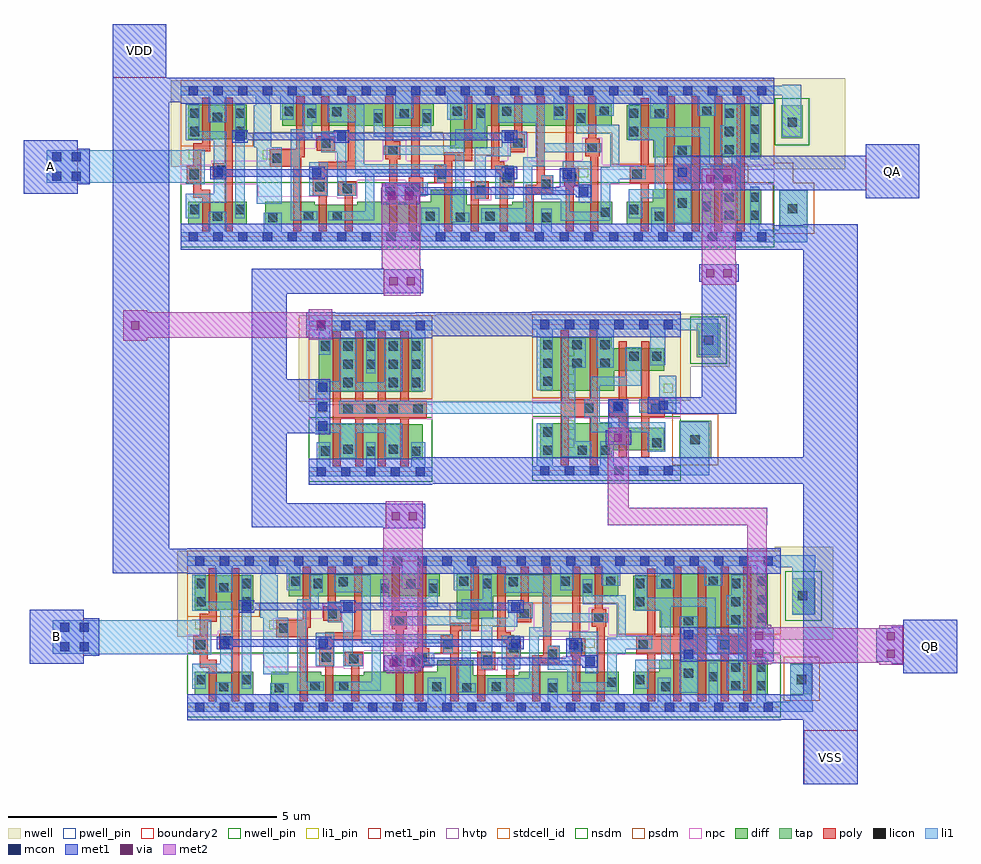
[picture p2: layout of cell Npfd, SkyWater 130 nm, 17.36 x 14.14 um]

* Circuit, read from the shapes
.subckt Npfd A B QA QB VDD VSS
XM1 VSS A n1 VSS sky130_fd_pr__nfet_01v8 w=0.42 l=0.15
XM2 VSS B n2 VSS sky130_fd_pr__nfet_01v8 w=0.42 l=0.15
XM3 n3 n1 VSS VSS sky130_fd_pr__nfet_01v8 w=0.42 l=0.15
XM4 n4 n2 VSS VSS sky130_fd_pr__nfet_01v8 w=0.42 l=0.15
XM5 n5 VDD VSS VSS sky130_fd_pr__nfet_01v8 w=0.42 l=0.15
XM6 n6 VDD VSS VSS sky130_fd_pr__nfet_01v8 w=0.42 l=0.15
XM7 n7 n1 n5 VSS sky130_fd_pr__nfet_01v8 w=0.36 l=0.15
XM8 n8 n2 n6 VSS sky130_fd_pr__nfet_01v8 w=0.36 l=0.15
XM9 sky130_fd_sc_hd__dfrbp_2_0/RESET_B sky130_fd_sc_hd__inv_4_3/A VSS VSS sky130_fd_pr__nfet_01v8 w=0.65 l=0.15 m=4
XM10 n9 n3 n7 VSS sky130_fd_pr__nfet_01v8 w=0.36 l=0.15
XM11 n10 n4 n8 VSS sky130_fd_pr__nfet_01v8 w=0.36 l=0.15
XM12 n11 n12 n9 VSS sky130_fd_pr__nfet_01v8 w=0.42 l=0.15
XM13 n13 n14 n10 VSS sky130_fd_pr__nfet_01v8 w=0.42 l=0.15
XM14 VSS sky130_fd_sc_hd__dfrbp_2_0/RESET_B n11 VSS sky130_fd_pr__nfet_01v8 w=0.42 l=0.15
XM15 VSS sky130_fd_sc_hd__dfrbp_2_0/RESET_B n13 VSS sky130_fd_pr__nfet_01v8 w=0.42 l=0.15
XM16 n12 n7 VSS VSS sky130_fd_pr__nfet_01v8 w=0.64 l=0.15
XM17 n14 n8 VSS VSS sky130_fd_pr__nfet_01v8 w=0.64 l=0.15
XM18 n15 n3 n12 VSS sky130_fd_pr__nfet_01v8 w=0.36 l=0.15
XM19 n16 n4 n14 VSS sky130_fd_pr__nfet_01v8 w=0.36 l=0.15
XM20 n17 n1 n15 VSS sky130_fd_pr__nfet_01v8 w=0.36 l=0.15
XM21 n18 n2 n16 VSS sky130_fd_pr__nfet_01v8 w=0.36 l=0.15
XM22 VSS n19 n17 VSS sky130_fd_pr__nfet_01v8 w=0.42 l=0.15
XM23 VSS n20 n18 VSS sky130_fd_pr__nfet_01v8 w=0.42 l=0.15
XM24 sky130_fd_sc_hd__inv_4_3/A n21 VSS VSS sky130_fd_pr__nfet_01v8 w=0.65 l=0.15 m=2
XM25 n22 sky130_fd_sc_hd__dfrbp_2_0/RESET_B VSS VSS sky130_fd_pr__nfet_01v8 w=0.42 l=0.15
XM26 n23 sky130_fd_sc_hd__dfrbp_2_0/RESET_B VSS VSS sky130_fd_pr__nfet_01v8 w=0.42 l=0.15
XM27 n19 n15 n22 VSS sky130_fd_pr__nfet_01v8 w=0.42 l=0.15
XM28 n20 n16 n23 VSS sky130_fd_pr__nfet_01v8 w=0.42 l=0.15
XM29 n24 QB VSS VSS sky130_fd_pr__nfet_01v8 w=0.42 l=0.15
XM30 VSS n19 n25 VSS sky130_fd_pr__nfet_01v8 w=0.42 l=0.15
XM31 n21 QA n24 VSS sky130_fd_pr__nfet_01v8 w=0.42 l=0.15
XM32 VSS n20 n26 VSS sky130_fd_pr__nfet_01v8 w=0.42 l=0.15
XM33 QA n19 VSS VSS sky130_fd_pr__nfet_01v8 w=0.65 l=0.15 m=2
XM34 QB n20 VSS VSS sky130_fd_pr__nfet_01v8 w=0.65 l=0.15 m=2
XM35 sky130_fd_sc_hd__dfrbp_2_0/Q_N n25 VSS VSS sky130_fd_pr__nfet_01v8 w=0.65 l=0.15 m=2
XM36 sky130_fd_sc_hd__dfrbp_2_1/Q_N n26 VSS VSS sky130_fd_pr__nfet_01v8 w=0.65 l=0.15 m=2
XM37 VDD A n1 VDD sky130_fd_pr__pfet_01v8_hvt w=0.64 l=0.15
XM38 VDD B n2 VDD sky130_fd_pr__pfet_01v8_hvt w=0.64 l=0.15
XM39 n3 n1 VDD VDD sky130_fd_pr__pfet_01v8_hvt w=0.64 l=0.15
XM40 n4 n2 VDD VDD sky130_fd_pr__pfet_01v8_hvt w=0.64 l=0.15
XM41 n5 VDD VDD VDD sky130_fd_pr__pfet_01v8_hvt w=0.42 l=0.15
XM42 n6 VDD VDD VDD sky130_fd_pr__pfet_01v8_hvt w=0.42 l=0.15
XM43 n7 n3 n5 VDD sky130_fd_pr__pfet_01v8_hvt w=0.42 l=0.15
XM44 n8 n4 n6 VDD sky130_fd_pr__pfet_01v8_hvt w=0.42 l=0.15
XM45 sky130_fd_sc_hd__dfrbp_2_0/RESET_B sky130_fd_sc_hd__inv_4_3/A VDD VDD sky130_fd_pr__pfet_01v8_hvt w=1 l=0.15 m=4
XM46 n27 n1 n7 VDD sky130_fd_pr__pfet_01v8_hvt w=0.42 l=0.15
XM47 n28 n2 n8 VDD sky130_fd_pr__pfet_01v8_hvt w=0.42 l=0.15
XM48 VDD n12 n27 VDD sky130_fd_pr__pfet_01v8_hvt w=0.42 l=0.15
XM49 VDD n14 n28 VDD sky130_fd_pr__pfet_01v8_hvt w=0.42 l=0.15
XM50 n27 sky130_fd_sc_hd__dfrbp_2_0/RESET_B VDD VDD sky130_fd_pr__pfet_01v8_hvt w=0.42 l=0.15
XM51 n28 sky130_fd_sc_hd__dfrbp_2_0/RESET_B VDD VDD sky130_fd_pr__pfet_01v8_hvt w=0.42 l=0.15
XM52 n12 n7 VDD VDD sky130_fd_pr__pfet_01v8_hvt w=0.84 l=0.15
XM53 n14 n8 VDD VDD sky130_fd_pr__pfet_01v8_hvt w=0.84 l=0.15
XM54 n15 n1 n12 VDD sky130_fd_pr__pfet_01v8_hvt w=0.42 l=0.15
XM55 n16 n2 n14 VDD sky130_fd_pr__pfet_01v8_hvt w=0.42 l=0.15
XM56 n29 n3 n15 VDD sky130_fd_pr__pfet_01v8_hvt w=0.42 l=0.15
XM57 n30 n4 n16 VDD sky130_fd_pr__pfet_01v8_hvt w=0.42 l=0.15
XM58 VDD n19 n29 VDD sky130_fd_pr__pfet_01v8_hvt w=0.42 l=0.15
XM59 VDD n20 n30 VDD sky130_fd_pr__pfet_01v8_hvt w=0.42 l=0.15
XM60 sky130_fd_sc_hd__inv_4_3/A n21 VDD VDD sky130_fd_pr__pfet_01v8_hvt w=1 l=0.15 m=2
XM61 n19 sky130_fd_sc_hd__dfrbp_2_0/RESET_B VDD VDD sky130_fd_pr__pfet_01v8_hvt w=0.42 l=0.15
XM62 n20 sky130_fd_sc_hd__dfrbp_2_0/RESET_B VDD VDD sky130_fd_pr__pfet_01v8_hvt w=0.42 l=0.15
XM63 VDD n15 n19 VDD sky130_fd_pr__pfet_01v8_hvt w=0.42 l=0.15
XM64 VDD n16 n20 VDD sky130_fd_pr__pfet_01v8_hvt w=0.42 l=0.15
XM65 n21 QB VDD VDD sky130_fd_pr__pfet_01v8_hvt w=0.42 l=0.15
XM66 VDD n19 n25 VDD sky130_fd_pr__pfet_01v8_hvt w=0.64 l=0.15
XM67 VDD QA n21 VDD sky130_fd_pr__pfet_01v8_hvt w=0.42 l=0.15
XM68 VDD n20 n26 VDD sky130_fd_pr__pfet_01v8_hvt w=0.64 l=0.15
XM69 QA n19 VDD VDD sky130_fd_pr__pfet_01v8_hvt w=1 l=0.15 m=2
XM70 QB n20 VDD VDD sky130_fd_pr__pfet_01v8_hvt w=1 l=0.15 m=2
XM71 sky130_fd_sc_hd__dfrbp_2_0/Q_N n25 VDD VDD sky130_fd_pr__pfet_01v8_hvt w=1 l=0.15 m=2
XM72 sky130_fd_sc_hd__dfrbp_2_1/Q_N n26 VDD VDD sky130_fd_pr__pfet_01v8_hvt w=1 l=0.15 m=2
.ends

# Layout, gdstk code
from math import pi, radians
import gdstk
lib = gdstk.Library(unit=1e-6, precision=1e-09)
def R(c, l, rs):  # rectangles x0, y0, x1, y1
    for r in rs: c.add(gdstk.rectangle(r[:2], r[2:], *l))
def A(c, l, x, y, w, h, nx, ny, dx, dy):  # array of equal rectangles
    R(c, l, [(x+i*dx, y+j*dy, x+i*dx+w, y+j*dy+h) for i in range(nx) for j in range(ny)])
def P(c, l, *ps):  # polygons
    for p in ps: c.add(gdstk.Polygon(p, *l))
nwell_pin = (64, 16)
nwell = (64, 20)
diff = (65, 20)
tap = (65, 44)
poly = (66, 20)
licon = (66, 44)
li1_pin = (67, 16)
li1 = (67, 20)
mcon = (67, 44)
met1_pin = (68, 16)
met1 = (68, 20)
via = (68, 44)
met2 = (69, 20)
hvtp = (78, 44)
stdcell_id = (81, 4)
nsdm = (93, 44)
psdm = (94, 20)
npc = (95, 20)
pwell_pin = (122, 16)
boundary2 = (236, 0)

sky130_fd_sc_hd__dfrbp_2 = lib.new_cell('sky130_fd_sc_hd__dfrbp_2')
R(sky130_fd_sc_hd__dfrbp_2, nwell_pin, [(0.145,2.635,0.315,2.805)])
R(sky130_fd_sc_hd__dfrbp_2, nwell, [(-0.19,1.305,11.23,2.91)])
R(sky130_fd_sc_hd__dfrbp_2, diff, [(0.135,0.235,1.225,0.655), (0.135,1.815,1.225,2.455), (3.305,2.065,4.7,2.485)])
P(sky130_fd_sc_hd__dfrbp_2, diff, [(8.015,2.485),(5.015,2.485),(5.015,1.645),(5.695,1.645),(5.695,2.065),(8.015,2.065)],
  [(10.8,0.885),(8.78,0.885),(8.78,0.655),(8.295,0.655),(8.295,0.235),(10.8,0.235)],
  [(8.025,0.655),(6.165,0.655),(6.165,0.595),(5.315,0.595),(5.315,0.875),(4.645,0.875),(4.645,0.655),(3.285,0.655),(3.285,0.595),(2.49,0.595),(2.49,0.655),(1.565,0.655),(1.565,0.235),(8.025,0.235)],
  [(3.335,2.485),(1.89,2.485),(1.89,2.065),(3.33,2.065),(3.33,2.48),(3.335,2.48)],
  [(10.8,2.485),(8.79,2.485),(8.79,2.445),(8.295,2.445),(8.295,1.805),(8.79,1.805),(8.79,1.485),(10.8,1.485)])
R(sky130_fd_sc_hd__dfrbp_2, poly, [(3.875,0.105,4.025,1.515), (4.29,1.055,4.44,2.615), (3.805,1.445,4.08,1.775), (3.805,1.76,3.955,2.615)])
P(sky130_fd_sc_hd__dfrbp_2, poly, [(7.79,1.825),(7.73,1.825),(7.73,2.615),(7.58,2.615),(7.58,1.825),(7.52,1.825),(7.52,1.495),(7.615,1.495),(7.615,0.105),(7.765,0.105),(7.765,1.495),(7.79,1.495)],
  [(10.49,2.615),(10.34,2.615),(10.34,1.325),(10.07,1.325),(10.07,2.615),(9.92,2.615),(9.92,1.325),(9.86,1.325),(9.86,0.995),(9.92,0.995),(9.92,0.105),(10.07,0.105),(10.07,0.995),(10.34,0.995),(10.34,0.105),(10.49,0.105)],
  [(0.545,0.88),(0.38,0.88),(0.38,1.59),(0.545,1.59),(0.545,2.585),(0.395,2.585),(0.395,1.74),(0.23,1.74),(0.23,1.325),(0.11,1.325),(0.11,0.995),(0.23,0.995),(0.23,0.73),(0.395,0.73),(0.395,0.105),(0.545,0.105)],
  [(0.965,2.585),(0.815,2.585),(0.815,1.37),(0.59,1.37),(0.59,1.1),(0.815,1.1),(0.815,0.105),(0.965,0.105)],
  [(2.3,2.615),(2.15,2.615),(2.15,1.63),(1.655,1.63),(1.655,1.3),(2.09,1.3),(2.09,0.105),(2.24,0.105),(2.24,1.48),(2.3,1.48)],
  [(3.255,2.615),(3.105,2.615),(3.105,1.395),(2.565,1.395),(2.565,1.095),(2.45,1.095),(2.45,0.765),(2.565,0.765),(2.565,0.105),(2.715,0.105),(2.715,0.765),(2.72,0.765),(2.72,1.245),(3.255,1.245)],
  [(2.86,1.875),(2.76,1.875),(2.76,2.615),(2.61,2.615),(2.61,1.875),(2.53,1.875),(2.53,1.605),(2.86,1.605)],
  [(3.26,1.035),(2.93,1.035),(2.93,0.765),(3.045,0.765),(3.045,0.105),(3.195,0.105),(3.195,0.765),(3.26,0.765)],
  [(4.505,1.095),(4.235,1.095),(4.235,0.105),(4.385,0.105),(4.385,0.765),(4.505,0.765)],
  [(5.425,2.615),(5.275,2.615),(5.275,1.57),(4.895,1.57),(4.895,1.335),(4.715,1.335),(4.715,1.005),(4.895,1.005),(4.895,0.105),(5.045,0.105),(5.045,1.42),(5.425,1.42)],
  [(5.725,1.035),(5.39,1.035),(5.39,0.105),(5.54,0.105),(5.54,0.705),(5.725,0.705)],
  [(6.205,1.275),(6.085,1.275),(6.085,1.335),(6.02,1.335),(6.02,1.395),(5.92,1.395),(5.92,2.615),(5.77,2.615),(5.77,1.245),(5.875,1.245),(5.875,1.185),(5.935,1.185),(5.935,0.105),(6.085,0.105),(6.085,0.945),(6.205,0.945)],
  [(6.4,1.905),(6.35,1.905),(6.35,2.615),(6.2,2.615),(6.2,1.905),(6.13,1.905),(6.13,1.575),(6.4,1.575)],
  [(6.925,1.145),(6.77,1.145),(6.77,2.615),(6.62,2.615),(6.62,0.965),(6.415,0.965),(6.415,0.105),(6.565,0.105),(6.565,0.815),(6.925,0.815)],
  [(7.405,1.285),(7.31,1.285),(7.31,2.615),(7.16,2.615),(7.16,1.285),(7.135,1.285),(7.135,0.955),(7.16,0.955),(7.16,0.105),(7.31,0.105),(7.31,0.955),(7.405,0.955)],
  [(9.65,2.615),(9.5,2.615),(9.5,1.325),(9.19,1.325),(9.19,2.615),(9.04,2.615),(9.04,1.325),(8.705,1.325),(8.705,2.575),(8.555,2.575),(8.555,1.325),(8.35,1.325),(8.35,0.995),(8.555,0.995),(8.555,0.105),(8.705,0.105),(8.705,0.995),(9.04,0.995),(9.04,0.105),(9.19,0.105),(9.19,0.995),(9.5,0.995),(9.5,0.105),(9.65,0.105)])
A(sky130_fd_sc_hd__dfrbp_2, licon, 10.12, 1.535, 0.17, 0.17, 1, 3, 0, 0.34)
A(sky130_fd_sc_hd__dfrbp_2, licon, 10.59, 1.575, 0.17, 0.17, 1, 3, 0, 0.34)
R(sky130_fd_sc_hd__dfrbp_2, licon, [(1.625,0.275,1.795,0.445), (5.115,0.275,5.285,0.445), (6.725,0.275,6.895,0.445), (0.595,0.295,0.765,0.465), (4.555,0.295,4.725,0.465), (5.665,0.295,5.835,0.465), (8.82,0.295,8.99,0.465), (2.29,0.305,2.46,0.475), (2.825,0.305,2.995,0.475), (10.12,0.315,10.29,0.485), (10.59,0.315,10.76,0.485), (7.815,0.375,7.985,0.545), (0.175,0.425,0.345,0.595), (1.015,0.425,1.185,0.595), (8.335,0.425,8.505,0.595), (9.7,0.48,9.87,0.65), (9.24,0.545,9.41,0.715), (10.12,0.655,10.29,0.825), (10.59,0.655,10.76,0.825), (5.505,0.785,5.675,0.955), (3.01,0.815,3.18,0.985), (2.5,0.845,2.67,1.015), (4.285,0.845,4.455,1.015), (6.705,0.895,6.875,1.065), (5.985,1.025,6.155,1.195), (7.185,1.035,7.355,1.205), (0.16,1.075,0.33,1.245), (8.4,1.075,8.57,1.245), (9.91,1.075,10.08,1.245), (4.765,1.085,4.935,1.255), (0.67,1.15,0.84,1.32), (1.705,1.38,1.875,1.55), (3.855,1.525,4.025,1.695), (9.24,1.525,9.41,1.695), (7.57,1.575,7.74,1.745), (2.61,1.655,2.78,1.825), (6.18,1.655,6.35,1.825), (0.175,1.875,0.345,2.045), (1.015,1.875,1.185,2.045), (8.335,1.875,8.505,2.045), (3.585,2.125,3.755,2.295), (4.49,2.125,4.66,2.295), (7.36,2.125,7.53,2.295), (0.595,2.135,0.765,2.305), (4.07,2.205,4.24,2.375), (8.82,2.205,8.99,2.375), (0.175,2.215,0.345,2.385), (1.015,2.215,1.185,2.385), (2.35,2.215,2.52,2.385), (5.495,2.215,5.665,2.385), (8.335,2.215,8.505,2.385), (2.815,2.245,2.985,2.415), (5.98,2.25,6.15,2.42), (1.93,2.255,2.1,2.425), (5.055,2.255,5.225,2.425), (6.94,2.255,7.11,2.425), (7.79,2.255,7.96,2.425), (9.7,2.255,9.87,2.425)])
R(sky130_fd_sc_hd__dfrbp_2, li1_pin, [(7.405,0.765,7.575,0.935), (9.255,1.065,9.415,1.245), (0.15,1.105,0.32,1.275), (7.405,1.105,7.575,1.275), (10.275,1.11,10.39,1.285), (0.15,1.445,0.32,1.615), (1.525,1.445,1.695,1.615)])
R(sky130_fd_sc_hd__dfrbp_2, li1, [(0,-0.085,9.2,0.085), (1.545,-0.03,1.875,0.445), (8.755,0.02,8.99,0.545), (10.59,0.025,10.76,0.93), (9.7,0.035,9.87,0.825), (4.475,0.055,4.805,0.545), (0.515,0.06,0.845,0.465), (6.705,0.065,6.895,0.525), (9.16,0.265,9.495,1.695), (1.015,0.345,1.185,2.465), (1.415,0.615,1.875,1.665), (5.845,0.705,6.195,1.325), (2.385,0.765,2.735,1.385), (3.805,0.765,4.595,1.015), (0.09,0.975,0.44,1.625), (8.145,1.075,8.65,1.325), (10.59,1.445,10.76,2.715), (3.775,1.525,5.13,1.695), (1.355,1.665,1.68,2.45), (0.515,2.135,0.845,2.665), (4.955,2.175,5.325,2.675), (6.94,2.175,7.19,2.69), (3.99,2.205,4.32,2.69), (8.73,2.205,9.07,2.675), (7.71,2.255,8.055,2.7), (9.62,2.255,9.95,2.675)])
P(sky130_fd_sc_hd__dfrbp_2, li1, [(0.84,1.965),(0.345,1.965),(0.345,2.465),(0.09,2.465),(0.09,1.795),(0.61,1.795),(0.61,0.805),(0.09,0.805),(0.09,0.345),(0.345,0.345),(0.345,0.635),(0.84,0.635)],
  [(2.54,0.475),(2.215,0.475),(2.215,1.835),(2.44,1.835),(2.44,2.135),(2.52,2.135),(2.52,2.465),(2.27,2.465),(2.27,2.005),(2.045,2.005),(2.045,0.305),(2.54,0.305)],
  [(3.26,0.985),(3.075,0.985),(3.075,1.965),(2.61,1.965),(2.61,1.575),(2.905,1.575),(2.905,0.765),(3.26,0.765)],
  [(4.935,1.355),(3.415,1.355),(3.415,2.465),(2.735,2.465),(2.735,2.135),(3.245,2.135),(3.245,1.185),(3.43,1.185),(3.43,0.475),(2.745,0.475),(2.745,0.305),(3.6,0.305),(3.6,1.185),(4.765,1.185),(4.765,1.005),(4.935,1.005)],
  [(5.665,2.465),(5.495,2.465),(5.495,2.005),(5.105,2.005),(5.105,0.835),(5.015,0.835),(5.015,0.275),(5.365,0.275),(5.365,0.445),(5.275,0.445),(5.275,1.835),(5.665,1.835)],
  [(6.43,1.955),(5.97,1.955),(5.97,1.665),(5.465,1.665),(5.465,0.705),(5.675,0.705),(5.675,1.495),(6.14,1.495),(6.14,1.655),(6.43,1.655)],
  [(7.645,1.405),(7.105,1.405),(7.105,1.035),(7.405,1.035),(7.405,0.635),(7.645,0.635)],
  [(7.82,1.745),(6.77,1.745),(6.77,2.465),(5.9,2.465),(5.9,2.125),(6.6,2.125),(6.6,1.485),(6.365,1.485),(6.365,0.535),(5.585,0.535),(5.585,0.255),(6.535,0.255),(6.535,1.315),(6.77,1.315),(6.77,1.575),(7.82,1.575)],
  [(9.2,2.805),(0,2.805),(0,2.635),(1.85,2.635),(1.85,2.175),(2.1,2.175),(2.1,2.635),(9.2,2.635)],
  [(8.16,2.085),(7.53,2.085),(7.53,2.375),(7.36,2.375),(7.36,1.915),(7.99,1.915),(7.99,1.295),(7.815,1.295),(7.815,0.465),(7.235,0.465),(7.235,0.865),(6.925,0.865),(6.925,1.145),(6.705,1.145),(6.705,0.695),(7.065,0.695),(7.065,0.295),(7.985,0.295),(7.985,0.995),(8.16,0.995)],
  [(10.42,2.465),(10.12,2.465),(10.12,2.08),(10.03,2.08),(10.03,1.535),(10.25,1.535),(10.25,0.825),(10.04,0.825),(10.04,0.31),(10.42,0.31)],
  [(10.08,1.325),(9.835,1.325),(9.835,2.035),(8.56,2.035),(8.56,2.465),(8.335,2.465),(8.335,1.795),(8.82,1.795),(8.82,0.885),(8.335,0.885),(8.335,0.345),(8.585,0.345),(8.585,0.715),(8.99,0.715),(8.99,1.865),(9.665,1.865),(9.665,0.995),(10.08,0.995)],
  [(4.66,2.375),(4.49,2.375),(4.49,2.035),(3.755,2.035),(3.755,2.375),(3.585,2.375),(3.585,1.865),(4.66,1.865)])
A(sky130_fd_sc_hd__dfrbp_2, mcon, 0.145, -0.085, 0.17, 0.17, 24, 2, 0.46, 2.72)
R(sky130_fd_sc_hd__dfrbp_2, mcon, [(3.805,0.765,3.975,0.935), (4.165,0.765,4.335,0.935), (7.405,0.765,7.575,0.935), (7.105,1.08,7.275,1.25), (0.61,1.105,0.78,1.275), (2.445,1.105,2.615,1.275), (6.025,1.105,6.195,1.275), (1.015,1.785,1.185,1.955), (2.905,1.785,3.075,1.955), (6.025,1.785,6.195,1.955)])
R(sky130_fd_sc_hd__dfrbp_2, met1_pin, [(0.145,-0.085,0.315,0.085), (0.145,2.635,0.315,2.805)])
R(sky130_fd_sc_hd__dfrbp_2, met1, [(7.045,0.91,7.335,1.28), (0.55,1.075,0.84,1.305), (5.965,1.075,6.255,1.305), (0.955,1.755,1.245,1.985), (5.965,1.755,6.255,1.985)])
P(sky130_fd_sc_hd__dfrbp_2, met1, [(7.635,0.965),(7.335,0.965),(7.335,0.92),(4.395,0.92),(4.395,0.965),(3.745,0.965),(3.745,0.735),(4.395,0.735),(4.395,0.78),(7.345,0.78),(7.345,0.735),(7.635,0.735)],
  [(6.075,1.94),(3.135,1.94),(3.135,1.985),(2.845,1.985),(2.845,1.94),(1.185,1.94),(1.185,1.8),(2.845,1.8),(2.845,1.755),(3.135,1.755),(3.135,1.8),(6.075,1.8)],
  [(6.045,1.26),(2.675,1.26),(2.675,1.305),(2.385,1.305),(2.385,1.26),(0.82,1.26),(0.82,1.12),(2.385,1.12),(2.385,1.075),(2.675,1.075),(2.675,1.12),(6.045,1.12)])
A(sky130_fd_sc_hd__dfrbp_2, hvtp, 9.2, 1.25, 0.46, 1.47, 4, 1, 0.46, 0)
R(sky130_fd_sc_hd__dfrbp_2, hvtp, [(0,1.25,9.2,2.72)])
R(sky130_fd_sc_hd__dfrbp_2, stdcell_id, [(0,0,11.04,2.72)])
R(sky130_fd_sc_hd__dfrbp_2, nsdm, [(0,-0.19,11.04,1.015)])
P(sky130_fd_sc_hd__dfrbp_2, psdm, [(11.04,2.91),(0,2.91),(0,1.685),(1.35,1.685),(1.35,1.935),(4.885,1.935),(4.885,1.515),(5.825,1.515),(5.825,1.935),(8.02,1.935),(8.02,1.355),(11.04,1.355)])
R(sky130_fd_sc_hd__dfrbp_2, npc, [(3.755,1.365,4.195,1.795)])
P(sky130_fd_sc_hd__dfrbp_2, npc, [(11.04,1.345),(7.84,1.345),(7.84,1.845),(7.47,1.845),(7.47,1.42),(6.45,1.42),(6.45,1.925),(6.08,1.925),(6.08,1.42),(2.88,1.42),(2.88,1.925),(2.51,1.925),(2.51,1.65),(1.6,1.65),(1.6,1.42),(0.565,1.42),(0.565,1.345),(0,1.345),(0,0.975),(1.425,0.975),(1.425,0.745),(2.91,0.745),(2.91,0.715),(3.28,0.715),(3.28,1.05),(4.185,1.05),(4.185,0.745),(4.555,0.745),(4.555,0.985),(5.055,0.985),(5.055,1.05),(5.405,1.05),(5.405,0.685),(5.775,0.685),(5.775,0.925),(6.605,0.925),(6.605,0.795),(6.975,0.795),(6.975,0.935),(7.455,0.935),(7.455,0.975),(11.04,0.975)])
R(sky130_fd_sc_hd__dfrbp_2, pwell_pin, [(0.145,-0.085,0.315,0.085)])
R(sky130_fd_sc_hd__dfrbp_2, boundary2, [(0,0,11.04,2.72)])
sky130_fd_sc_hd__dfrbp_2.add(gdstk.FlexPath([(0,0),(9.2,0)], 0.48, ends="flush", simple_path=True, layer=68, datatype=20))  # met1
sky130_fd_sc_hd__dfrbp_2.add(gdstk.FlexPath([(0,2.72),(9.2,2.72)], 0.48, ends="flush", simple_path=True, layer=68, datatype=20))  # met1
sky130_fd_sc_hd__dfrbp_2.add(gdstk.FlexPath([(10.12,0),(10.58,0)], 0.48, ends="flush", simple_path=True, layer=68, datatype=20))  # met1
sky130_fd_sc_hd__dfrbp_2.add(gdstk.FlexPath([(10.12,2.72),(10.58,2.72)], 0.48, ends="flush", simple_path=True, layer=68, datatype=20))  # met1
sky130_fd_sc_hd__dfrbp_2.add(gdstk.FlexPath([(10.58,2.72),(11.04,2.72)], 0.48, ends="flush", simple_path=True, layer=68, datatype=20))  # met1
sky130_fd_sc_hd__dfrbp_2.add(gdstk.FlexPath([(10.58,0),(11.04,0)], 0.48, ends="flush", simple_path=True, layer=68, datatype=20))  # met1
sky130_fd_sc_hd__dfrbp_2.add(gdstk.FlexPath([(9.2,0),(9.66,0)], 0.48, ends="flush", simple_path=True, layer=68, datatype=20))  # met1
sky130_fd_sc_hd__dfrbp_2.add(gdstk.FlexPath([(9.2,2.72),(9.66,2.72)], 0.48, ends="flush", simple_path=True, layer=68, datatype=20))  # met1
sky130_fd_sc_hd__dfrbp_2.add(gdstk.FlexPath([(9.66,0),(10.12,0)], 0.48, ends="flush", simple_path=True, layer=68, datatype=20))  # met1
sky130_fd_sc_hd__dfrbp_2.add(gdstk.FlexPath([(9.66,2.72),(10.12,2.72)], 0.48, ends="flush", simple_path=True, layer=68, datatype=20))  # met1
sky130_fd_sc_hd__dfrbp_2.add(gdstk.FlexPath([(10.12,2.72),(10.58,2.72)], 0.17, ends="flush", simple_path=True, layer=67, datatype=20))  # li1
sky130_fd_sc_hd__dfrbp_2.add(gdstk.FlexPath([(10.12,0),(10.58,0)], 0.17, ends="flush", simple_path=True, layer=67, datatype=20))  # li1
sky130_fd_sc_hd__dfrbp_2.add(gdstk.FlexPath([(10.58,0),(11.04,0)], 0.17, ends="flush", simple_path=True, layer=67, datatype=20))  # li1
sky130_fd_sc_hd__dfrbp_2.add(gdstk.FlexPath([(10.58,2.72),(11.04,2.72)], 0.17, ends="flush", simple_path=True, layer=67, datatype=20))  # li1
sky130_fd_sc_hd__dfrbp_2.add(gdstk.FlexPath([(9.2,2.72),(9.66,2.72)], 0.17, ends="flush", simple_path=True, layer=67, datatype=20))  # li1
sky130_fd_sc_hd__dfrbp_2.add(gdstk.FlexPath([(9.2,0),(9.66,0)], 0.17, ends="flush", simple_path=True, layer=67, datatype=20))  # li1
sky130_fd_sc_hd__dfrbp_2.add(gdstk.FlexPath([(9.66,2.72),(10.12,2.72)], 0.17, ends="flush", simple_path=True, layer=67, datatype=20))  # li1
sky130_fd_sc_hd__dfrbp_2.add(gdstk.FlexPath([(9.66,0),(10.12,0)], 0.17, ends="flush", simple_path=True, layer=67, datatype=20))  # li1
sky130_fd_sc_hd__dfrbp_2.add(gdstk.Label('Q', (9.335,1.155), layer=67, texttype=5))
sky130_fd_sc_hd__dfrbp_2.add(gdstk.Label('Q_N', (10.335,1.2), layer=67, texttype=5))
sky130_fd_sc_hd__dfrbp_2.add(gdstk.Label('RESET_B', (7.49,0.85), layer=67, texttype=5))
sky130_fd_sc_hd__dfrbp_2.add(gdstk.Label('D', (1.61,1.53), layer=67, texttype=5))
sky130_fd_sc_hd__dfrbp_2.add(gdstk.Label('CLK', (0.235,1.53), layer=67, texttype=5))
sky130_fd_sc_hd__dfrbp_2.add(gdstk.Label('CLK', (0.235,1.19), layer=67, texttype=5))
sky130_fd_sc_hd__dfrbp_2.add(gdstk.Label('RESET_B', (7.49,1.19), layer=67, texttype=5))
sky130_fd_sc_hd__dfrbp_2.add(gdstk.Label('VGND', (0.23,0), layer=68, texttype=5))
sky130_fd_sc_hd__dfrbp_2.add(gdstk.Label('VPWR', (0.23,2.72), layer=68, texttype=5))
sky130_fd_sc_hd__dfrbp_2.add(gdstk.Label('VPB', (0.23,2.72), layer=64, texttype=5))
sky130_fd_sc_hd__dfrbp_2.add(gdstk.Label('VNB', (0.23,0), layer=64, texttype=59))
sky130_fd_sc_hd__dfrbp_2.add(gdstk.Label('dfrbp_2', (0,0), layer=83, texttype=44))

sky130_fd_sc_hd__and2_2 = lib.new_cell('sky130_fd_sc_hd__and2_2')
R(sky130_fd_sc_hd__and2_2, nwell_pin, [(0.145,2.635,0.315,2.805)])
R(sky130_fd_sc_hd__and2_2, nwell, [(-0.19,1.305,2.95,2.91)])
P(sky130_fd_sc_hd__and2_2, diff, [(2.615,2.485),(1.285,2.485),(1.285,2.275),(0.305,2.275),(0.305,1.855),(1.235,1.855),(1.235,1.485),(2.615,1.485)],
  [(2.615,0.885),(1.285,0.885),(1.285,0.795),(0.305,0.795),(0.305,0.375),(1.285,0.375),(1.285,0.235),(2.615,0.235)])
P(sky130_fd_sc_hd__and2_2, poly, [(0.735,2.405),(0.585,2.405),(0.585,1.325),(0.3,1.325),(0.3,0.995),(0.585,0.995),(0.585,0.245),(0.735,0.245)],
  [(1.335,1.325),(1.155,1.325),(1.155,2.405),(1.005,2.405),(1.005,0.245),(1.155,0.245),(1.155,0.995),(1.335,0.995)],
  [(2.235,2.615),(2.085,2.615),(2.085,1.325),(1.695,1.325),(1.695,2.615),(1.545,2.615),(1.545,0.105),(1.695,0.105),(1.695,0.995),(2.085,0.995),(2.085,0.105),(2.235,0.105)])
A(sky130_fd_sc_hd__and2_2, licon, 2.385, 1.575, 0.17, 0.17, 1, 3, 0, 0.34)
R(sky130_fd_sc_hd__and2_2, licon, [(1.325,0.295,1.495,0.465), (1.745,0.295,1.915,0.465), (2.385,0.295,2.555,0.465), (0.365,0.435,0.535,0.605), (2.385,0.635,2.555,0.805), (0.38,1.075,0.55,1.245), (1.085,1.075,1.255,1.245), (1.625,1.075,1.795,1.245), (1.325,1.915,1.495,2.085), (1.845,1.915,2.015,2.085), (0.365,2.045,0.535,2.215), (0.785,2.045,0.955,2.215), (1.325,2.255,1.495,2.425), (1.845,2.255,2.015,2.425)])
A(sky130_fd_sc_hd__and2_2, li1_pin, 1.985, 0.425, 0.17, 0.17, 1, 6, 0, 0.34)
A(sky130_fd_sc_hd__and2_2, li1_pin, 0.145, 1.105, 0.17, 0.17, 3, 1, 0.46, 0)
R(sky130_fd_sc_hd__and2_2, li1_pin, [(0.145,1.445,0.315,1.615)])
R(sky130_fd_sc_hd__and2_2, li1, [(1.005,1.075,1.335,1.325)])
P(sky130_fd_sc_hd__and2_2, li1, [(0.085,1.075),(0.085,1.765),(0.4,1.765),(0.4,1.325),(0.775,1.325),(0.775,1.075)],
  [(1.795,1.325),(1.675,1.325),(1.675,1.745),(1.035,1.745),(1.035,2.295),(0.735,2.295),(0.735,1.575),(1.505,1.575),(1.505,0.905),(0.285,0.905),(0.285,0.355),(0.615,0.355),(0.615,0.715),(1.675,0.715),(1.675,0.995),(1.795,0.995)],
  [(2.76,0.085),(2.675,0.085),(2.675,0.885),(2.385,0.885),(2.385,0.085),(1.495,0.085),(1.495,0.545),(1.245,0.545),(1.245,0.085),(0,0.085),(0,-0.085),(2.76,-0.085)],
  [(2.215,2.465),(1.765,2.465),(1.765,1.915),(1.965,1.915),(1.965,0.545),(1.665,0.545),(1.665,0.255),(2.215,0.255)],
  [(2.76,2.805),(0,2.805),(0,2.635),(0.285,2.635),(0.285,1.965),(0.565,1.965),(0.565,2.635),(1.245,2.635),(1.245,1.915),(1.575,1.915),(1.575,2.635),(2.385,2.635),(2.385,1.495),(2.675,1.495),(2.675,2.635),(2.76,2.635)])
A(sky130_fd_sc_hd__and2_2, mcon, 0.145, -0.085, 0.17, 0.17, 6, 2, 0.46, 2.72)
R(sky130_fd_sc_hd__and2_2, met1_pin, [(0.145,-0.085,0.315,0.085), (0.145,2.635,0.315,2.805)])
R(sky130_fd_sc_hd__and2_2, hvtp, [(0,1.25,2.76,2.72)])
R(sky130_fd_sc_hd__and2_2, stdcell_id, [(0,0,2.76,2.72)])
R(sky130_fd_sc_hd__and2_2, nsdm, [(0,-0.19,2.76,1.015)])
R(sky130_fd_sc_hd__and2_2, psdm, [(0,1.355,2.76,2.91)])
R(sky130_fd_sc_hd__and2_2, npc, [(0,0.975,2.76,1.345)])
R(sky130_fd_sc_hd__and2_2, pwell_pin, [(0.145,-0.085,0.315,0.085)])
R(sky130_fd_sc_hd__and2_2, boundary2, [(0,0,2.76,2.72)])
sky130_fd_sc_hd__and2_2.add(gdstk.FlexPath([(0,0),(2.76,0)], 0.48, ends="flush", simple_path=True, layer=68, datatype=20))  # met1
sky130_fd_sc_hd__and2_2.add(gdstk.FlexPath([(0,2.72),(2.76,2.72)], 0.48, ends="flush", simple_path=True, layer=68, datatype=20))  # met1
sky130_fd_sc_hd__and2_2.add(gdstk.Label('VPWR', (0.23,2.72), layer=68, texttype=5))
sky130_fd_sc_hd__and2_2.add(gdstk.Label('VGND', (0.23,0), layer=68, texttype=5))
sky130_fd_sc_hd__and2_2.add(gdstk.Label('A', (0.69,1.19), layer=67, texttype=5))
sky130_fd_sc_hd__and2_2.add(gdstk.Label('X', (2.07,0.85), layer=67, texttype=5))
sky130_fd_sc_hd__and2_2.add(gdstk.Label('A', (0.23,1.19), layer=67, texttype=5))
sky130_fd_sc_hd__and2_2.add(gdstk.Label('X', (2.07,0.51), layer=67, texttype=5))
sky130_fd_sc_hd__and2_2.add(gdstk.Label('X', (2.07,1.19), layer=67, texttype=5))
sky130_fd_sc_hd__and2_2.add(gdstk.Label('X', (2.07,1.53), layer=67, texttype=5))
sky130_fd_sc_hd__and2_2.add(gdstk.Label('X', (2.07,1.87), layer=67, texttype=5))
sky130_fd_sc_hd__and2_2.add(gdstk.Label('X', (2.07,2.21), layer=67, texttype=5))
sky130_fd_sc_hd__and2_2.add(gdstk.Label('B', (1.15,1.19), layer=67, texttype=5))
sky130_fd_sc_hd__and2_2.add(gdstk.Label('VPB', (0.23,2.72), layer=64, texttype=5))
sky130_fd_sc_hd__and2_2.add(gdstk.Label('VNB', (0.23,0), layer=64, texttype=59))
sky130_fd_sc_hd__and2_2.add(gdstk.Label('and2_2', (0,0), layer=83, texttype=44))

sky130_fd_sc_hd__inv_4 = lib.new_cell('sky130_fd_sc_hd__inv_4')
R(sky130_fd_sc_hd__inv_4, nwell_pin, [(0.145,2.635,0.315,2.805)])
R(sky130_fd_sc_hd__inv_4, nwell, [(-0.19,1.305,2.49,2.91)])
R(sky130_fd_sc_hd__inv_4, diff, [(0.185,0.235,2.115,0.885), (0.185,1.485,2.115,2.485)])
P(sky130_fd_sc_hd__inv_4, poly, [(1.855,2.615),(1.705,2.615),(1.705,1.325),(1.435,1.325),(1.435,2.615),(1.285,2.615),(1.285,1.325),(1.015,1.325),(1.015,2.615),(0.865,2.615),(0.865,1.325),(0.595,1.325),(0.595,2.615),(0.445,2.615),(0.445,1.325),(0.105,1.325),(0.105,0.995),(0.445,0.995),(0.445,0.105),(0.595,0.105),(0.595,0.995),(0.865,0.995),(0.865,0.105),(1.015,0.105),(1.015,0.995),(1.285,0.995),(1.285,0.105),(1.435,0.105),(1.435,0.995),(1.705,0.995),(1.705,0.105),(1.855,0.105)])
A(sky130_fd_sc_hd__inv_4, licon, 0.645, 1.075, 0.17, 0.17, 3, 1, 0.42, 0)
A(sky130_fd_sc_hd__inv_4, licon, 0.225, 1.915, 0.17, 0.17, 4, 1, 0.42, 0)
A(sky130_fd_sc_hd__inv_4, licon, 0.225, 2.255, 0.17, 0.17, 5, 1, 0.42, 0)
R(sky130_fd_sc_hd__inv_4, licon, [(0.225,0.295,0.395,0.465), (1.065,0.295,1.235,0.465), (1.905,0.3,2.075,0.47), (0.645,0.335,0.815,0.505), (1.485,0.335,1.655,0.505), (0.185,1.075,0.355,1.245), (0.225,1.575,0.395,1.745), (0.645,1.575,0.815,1.745), (1.485,1.575,1.655,1.745)])
A(sky130_fd_sc_hd__inv_4, li1_pin, 0.145, 1.105, 0.17, 0.17, 5, 1, 0.46, 0)
R(sky130_fd_sc_hd__inv_4, li1_pin, [(1.985,0.765,2.155,0.935), (1.985,1.445,2.155,1.615)])
R(sky130_fd_sc_hd__inv_4, li1, [(0.105,1.075,1.735,1.325)])
P(sky130_fd_sc_hd__inv_4, li1, [(2.3,0.085),(2.155,0.085),(2.155,0.55),(1.905,0.55),(1.905,0.085),(1.235,0.085),(1.235,0.545),(1.065,0.545),(1.065,0.085),(0.395,0.085),(0.395,0.545),(0.13,0.545),(0.13,0.085),(0,0.085),(0,-0.085),(2.3,-0.085)],
  [(2.3,2.805),(0,2.805),(0,2.635),(0.13,2.635),(0.13,1.495),(0.395,1.495),(0.395,2.635),(1.065,2.635),(1.065,1.835),(1.235,1.835),(1.235,2.635),(1.905,2.635),(1.905,2.175),(2.115,2.175),(2.115,2.635),(2.3,2.635)],
  [(2.17,1.685),(1.735,1.685),(1.735,2.465),(1.405,2.465),(1.405,1.665),(0.895,1.665),(0.895,2.465),(0.565,2.465),(0.565,1.495),(1.905,1.495),(1.905,0.905),(0.565,0.905),(0.565,0.255),(0.895,0.255),(0.895,0.725),(1.405,0.725),(1.405,0.255),(1.735,0.255),(1.735,0.725),(2.17,0.725)])
A(sky130_fd_sc_hd__inv_4, mcon, 0.145, -0.085, 0.17, 0.17, 5, 2, 0.46, 2.72)
R(sky130_fd_sc_hd__inv_4, met1_pin, [(0.145,-0.085,0.315,0.085), (0.145,2.635,0.315,2.805)])
R(sky130_fd_sc_hd__inv_4, hvtp, [(0,1.25,2.3,2.72)])
R(sky130_fd_sc_hd__inv_4, stdcell_id, [(0,0,2.3,2.72)])
R(sky130_fd_sc_hd__inv_4, nsdm, [(0,-0.19,2.3,1.015)])
R(sky130_fd_sc_hd__inv_4, psdm, [(0,1.355,2.3,2.91)])
R(sky130_fd_sc_hd__inv_4, npc, [(0,0.975,2.3,1.345)])
R(sky130_fd_sc_hd__inv_4, pwell_pin, [(0.145,-0.085,0.315,0.085)])
R(sky130_fd_sc_hd__inv_4, boundary2, [(0,0,2.3,2.72)])
sky130_fd_sc_hd__inv_4.add(gdstk.FlexPath([(0,2.72),(2.3,2.72)], 0.48, ends="flush", simple_path=True, layer=68, datatype=20))  # met1
sky130_fd_sc_hd__inv_4.add(gdstk.FlexPath([(0,0),(2.3,0)], 0.48, ends="flush", simple_path=True, layer=68, datatype=20))  # met1
sky130_fd_sc_hd__inv_4.add(gdstk.Label('Y', (2.07,0.85), layer=67, texttype=5))
sky130_fd_sc_hd__inv_4.add(gdstk.Label('Y', (2.07,1.19), layer=67, texttype=5))
sky130_fd_sc_hd__inv_4.add(gdstk.Label('Y', (2.07,1.53), layer=67, texttype=5))
sky130_fd_sc_hd__inv_4.add(gdstk.Label('A', (0.23,1.19), layer=67, texttype=5))
sky130_fd_sc_hd__inv_4.add(gdstk.Label('A', (0.69,1.19), layer=67, texttype=5))
sky130_fd_sc_hd__inv_4.add(gdstk.Label('A', (1.15,1.19), layer=67, texttype=5))
sky130_fd_sc_hd__inv_4.add(gdstk.Label('A', (1.61,1.19), layer=67, texttype=5))
sky130_fd_sc_hd__inv_4.add(gdstk.Label('VPB', (0.23,2.72), layer=64, texttype=5))
sky130_fd_sc_hd__inv_4.add(gdstk.Label('VNB', (0.23,0), layer=64, texttype=59))
sky130_fd_sc_hd__inv_4.add(gdstk.Label('VPWR', (0.23,2.72), layer=68, texttype=5))
sky130_fd_sc_hd__inv_4.add(gdstk.Label('VGND', (0.23,0), layer=68, texttype=5))
sky130_fd_sc_hd__inv_4.add(gdstk.Label('inv_4', (0,0), layer=83, texttype=44))

npfd = lib.new_cell('Npfd')
R(npfd, nwell, [(19.09,-8.23,20.18,-6.5), (12.79,-3.79,14.57,-2.17), (17.34,-3.15,18.25,-2.16), (18.86,0.53,20.4,2.22)])
R(npfd, tap, [(19.38,-9.24,19.8,-8.67), (19.41,-7.75,19.84,-7.08), (17.31,-4.85,17.91,-4.15), (17.64,-2.97,18.07,-2.34), (19.18,-0.55,19.7,0.15), (19.21,1.1,19.61,1.72)])
R(npfd, licon, [(19.5,-9.05,19.67,-8.88), (19.52,-7.49,19.69,-7.32), (17.52,-4.59,17.69,-4.42), (17.77,-2.74,17.94,-2.57), (19.335,-0.29,19.505,-0.12), (19.33,1.32,19.5,1.49)])
R(npfd, li1, [(18.83,-9.57,19.8,-9.38), (19.38,-9.38,19.78,-8.68), (17.36,-8.58,17.61,-8.05), (6.37,-8.5,8.52,-8.49), (5.66,-8.49,8.52,-7.86), (19.41,-7.76,19.82,-6.88), (9.54,-7.19,9.8,-6.83), (19.12,-6.88,19.84,-6.65), (17.13,-5.17,17.87,-4.99), (17.33,-4.99,17.87,-4.17), (10.57,-4.34,10.79,-3.44), (12.37,-4.02,15.35,-3.8), (16.79,-3.99,17.24,-3.74), (16.05,-3.98,16.3,-3.78), (17.67,-2.92,18.04,-2.47), (17.28,-2.47,18.04,-2.25), (18.78,-0.83,19.69,-0.6), (19.17,-0.6,19.69,0.14), (17.24,0.22,17.49,0.72), (5.54,0.28,8.37,0.88), (19.23,1.13,19.58,1.9), (9.43,1.57,9.69,1.93), (19.02,1.9,19.58,2.08), (19.23,2.08,19.58,2.1)])
A(npfd, mcon, 10.595, -4.335, 0.17, 0.17, 1, 3, 0, 0.36)
R(npfd, mcon, [(17.4,-8.58,17.57,-8.41), (5.795,-8.44,5.965,-8.27), (6.155,-8.44,6.325,-8.27), (17.4,-8.22,17.57,-8.05), (5.795,-8.08,5.965,-7.91), (6.155,-8.08,6.325,-7.91), (16.09,-3.965,16.26,-3.795), (16.93,-3.95,17.1,-3.78), (5.645,0.315,5.815,0.485), (6.005,0.315,6.175,0.485), (17.28,0.385,17.45,0.555), (5.645,0.675,5.815,0.845), (6.005,0.675,6.175,0.845)])
R(npfd, met1_pin, [(19.63,-10.91,20.63,-9.91), (21.48,-8.85,22.48,-7.85), (5.23,-8.67,6.23,-7.67), (20.78,-0.01,21.78,0.99), (5.12,0.07,6.12,1.07), (6.77,2.23,7.77,3.23)])
R(npfd, met1, [(19.62,-10.91,20.63,-9.71), (18.87,-9.71,20.63,-9.25), (19.62,-9.25,20.63,-5.32), (21.48,-8.85,22.48,-8.67), (11.82,-8.8,12.5,-8.51), (5.23,-8.67,6.23,-8.52), (21.27,-8.67,22.48,-8.64), (17.33,-8.64,17.64,-8.63), (20.98,-8.64,22.48,-8.01), (17.33,-8.63,19.07,-8), (5.23,-8.52,6.52,-7.83), (21.27,-8.01,22.48,-7.98), (17.33,-8,17.64,-7.99), (21.48,-7.98,22.48,-7.85), (5.23,-7.83,6.23,-7.67), (8.16,-7,8.47,-6.99), (6.77,-6.99,8.47,-6.53), (6.77,-6.53,7.82,1.77), (11.8,-6.15,12.59,-6.13), (9.36,-6.13,12.59,-5.7), (9.36,-5.7,11.87,-5.69), (9.36,-5.69,10.01,-4.38), (12.34,-5.32,20.63,-4.83), (19.62,-4.83,20.63,-0.97), (15.94,-4.6,16.42,-4.33), (10.54,-4.4,10.82,-4.38), (9.36,-4.38,10.82,-3.38), (15.99,-4.33,16.36,-3.75), (16.73,-4.02,18.37,-3.71), (17.73,-3.71,18.37,-1.57), (9.36,-3.38,10.01,-1.79), (10.37,-2.59,10.91,-2.13), (12.4,-2.58,14.85,-2.13), (9.36,-1.79,11.82,-1.78), (9.36,-1.78,12.55,-1.33), (17.68,-1.57,18.42,-1.24), (9.36,-1.33,11.82,-1.32), (18.76,-0.97,20.63,-0.51), (19.62,-0.51,20.63,-0.5), (11.77,-0.12,12.47,0.18), (20.78,-0.01,21.78,0.14), (5.12,0.07,6.12,0.25), (17.22,0.14,21.78,0.16), (17.21,0.16,21.78,0.78), (5.12,0.25,6.34,0.91), (20.78,0.78,21.78,0.99), (5.12,0.91,6.12,1.07), (6.77,1.77,8.42,2.23), (6.77,2.23,7.77,3.23)])
R(npfd, via, [(11.925,-8.73,12.075,-8.58), (12.245,-8.73,12.395,-8.58), (21.175,-8.56,21.325,-8.41), (18.725,-8.55,18.875,-8.4), (21.175,-8.24,21.325,-8.09), (18.725,-8.23,18.875,-8.08), (11.96,-6,12.11,-5.85), (12.28,-6,12.43,-5.85), (16.105,-4.54,16.255,-4.39), (7.115,-2.455,7.265,-2.305), (10.565,-2.435,10.715,-2.285), (11.92,-1.63,12.07,-1.48), (12.24,-1.63,12.39,-1.48), (17.815,-1.48,17.965,-1.33), (18.135,-1.48,18.285,-1.33), (11.885,-0.045,12.035,0.105), (12.205,-0.045,12.355,0.105), (17.81,0.275,17.96,0.425), (18.13,0.275,18.28,0.425)])
R(npfd, met2, [(11.87,-8.85,12.45,-8.81), (11.8,-8.81,12.53,-8.7), (11.8,-8.7,12.54,-6.15), (21.03,-8.69,21.47,-8.65), (18.58,-8.68,19.02,-8.66), (18.58,-8.66,20.15,-8.65), (18.58,-8.65,21.47,-8.01), (18.58,-8.01,20.15,-7.99), (21.03,-8.01,21.47,-7.96), (18.58,-7.99,19.02,-7.95), (18.58,-7.95,18.94,-6.1), (11.85,-6.15,12.54,-5.65), (15.98,-6.1,18.95,-5.77), (15.98,-5.77,16.37,-4.6), (15.99,-4.6,16.37,-4.28), (6.97,-2.66,7.41,-2.61), (10.42,-2.64,10.86,-2.61), (6.97,-2.61,10.86,-2.13), (6.97,-2.13,7.41,-2.1), (10.42,-2.13,10.86,-2.08), (11.81,-1.83,12.5,-1.31), (17.73,-1.62,18.37,-1.19), (11.78,-1.31,12.5,-1.28), (11.78,-1.28,12.49,0.27), (17.73,-1.19,18.36,0.54)])
R(npfd, nsdm, [(19.285,-7.875,19.965,-6.955), (17.515,-3.095,18.195,-2.215), (19.085,0.975,19.735,1.845)])
R(npfd, psdm, [(19.255,-9.365,19.925,-8.545), (17.185,-4.975,18.035,-4.025), (19.055,-0.675,19.825,0.26), (18.965,0.26,19.825,0.275), (18.965,0.275,19.435,0.28), (18.585,0.28,19.435,0.63), (18.965,0.63,19.435,0.645)])
npfd.add(gdstk.Reference(sky130_fd_sc_hd__dfrbp_2, (8.04,-0.73)))
npfd.add(gdstk.Reference(sky130_fd_sc_hd__dfrbp_2, (8.16,-9.48)))
npfd.add(gdstk.Reference(sky130_fd_sc_hd__and2_2, (17.34,-5.08), rotation=pi, x_reflection=True))
npfd.add(gdstk.Reference(sky130_fd_sc_hd__inv_4, (12.72,-5.1), rotation=pi, x_reflection=True))
npfd.add(gdstk.Label('A', (5.62,0.57), layer=68, texttype=5))
npfd.add(gdstk.Label('QA', (21.28,0.49), layer=68, texttype=5))
npfd.add(gdstk.Label('VDD', (7.27,2.73), layer=68, texttype=5))
npfd.add(gdstk.Label('VSS', (20.13,-10.41), layer=68, texttype=5))
npfd.add(gdstk.Label('QB', (21.98,-8.35), layer=68, texttype=5))
npfd.add(gdstk.Label('B', (5.73,-8.17), layer=68, texttype=5))

lib.write_gds('Npfd.gds')
